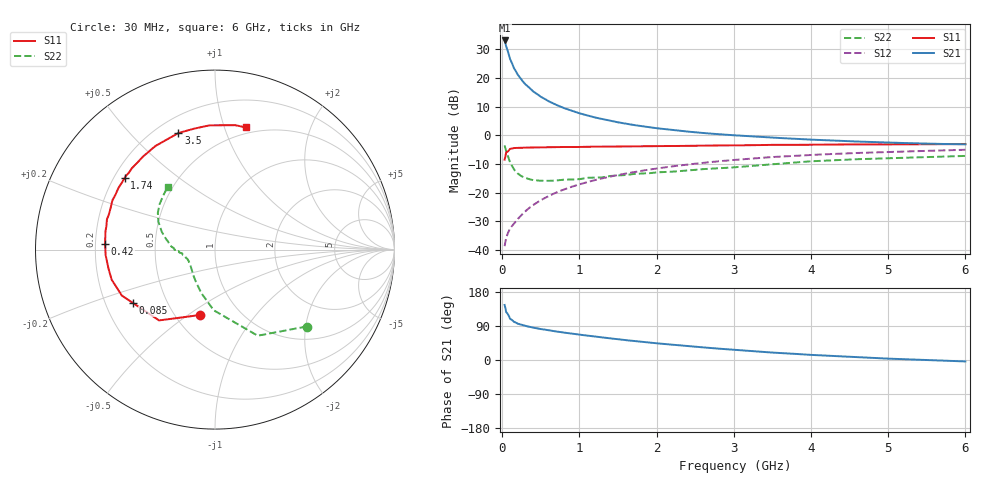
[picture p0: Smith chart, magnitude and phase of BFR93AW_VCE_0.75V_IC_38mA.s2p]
! Infineon Technologies  Discrete & RF Semiconductors
! BFR93AW
! VCE = 0.75 V,  IC =  38 mA
! Common Emitter S-Parameters:  Nov 2015
# GHz  S  MA  R  50
!  f  S11  S21  S12  S22
! GHz  MAG  ANG  MAG  ANG  MAG  ANG  MAG  ANG
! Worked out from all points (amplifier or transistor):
!   206 points, 30 MHz to 6 GHz, reference 50 ohm
!   highest |S21| = 33.1 dB at 30 MHz (marker M1)
!   |S21| within 3 dB of that: start of sweep to 62.44 MHz
!   unconditionally stable (mu >= 1): 236 MHz to end of sweep
!   at 200 MHz: K = 0.96, MSG = 25.2 dB, |S12| = -29.3 dB
!   at 1.56 GHz: K = 1.11, MAG = 6.9 dB, |S12| = -13.6 dB
!   at 6 GHz: K = 1.02, MAG = 0.1 dB, |S12| = -5.1 dB
!   S11 on the Smith chart (normalised r, x): 30 MHz: 0.65, -0.56; 85 MHz: 0.32, -0.27; 420 MHz: 0.24, +0.02; 1.74 GHz: 0.24, +0.33; 3.5 GHz: 0.29, +0.69; 6 GHz: 0.44, +1.19
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0.03  0.3747 -103.3  45.22 145.2  0.0116 63.0  0.6666 -40.0
0.05  0.5027 -128.3  35.77 126.7  0.0162 57.7  0.5356 -63.6
0.085  0.5452 -146.8  25.51 116.2  0.0213 56.0  0.3859 -80.1
0.1  0.5787 -153.7  21.55 108.8  0.0236 55.5  0.3377 -91.3
0.15  0.5996 -163.7  14.95 100.9  0.0285 59.5  0.2546 -107.2
0.2  0.6026 -169.7  11.45 95.9  0.0344 62.7  0.2151 -118.5
0.26  0.6067 -174.9  8.922 92.0  0.042 65.4  0.1897 -128.8
0.3  0.6102 -177.1  7.736 89.7  0.0474 67.0  0.1796 -133.8
0.4  0.6129 177.8  5.829 85.3  0.0606 69.3  0.1648 -144.7
0.42  0.6131 177.0  5.6 84.7  0.0632 69.4  0.1638 -146.2
0.5  0.6151 173.7  4.693 81.6  0.0737 69.8  0.1609 -152.4
0.6  0.6185 170.8  3.931 78.5  0.0867 70.4  0.1604 -157.1
0.7  0.6195 167.4  3.394 75.2  0.1003 70.1  0.1624 -161.0
1.04  0.6265 157.9  2.338 65.9  0.1444 67.8  0.1754 -169.4
1.4  0.6351 149.3  1.789 57.0  0.1904 64.3  0.1948 -174.4
1.74  0.6422 141.7  1.486 49.5  0.2318 60.6  0.2127 -177.5
2.02  0.648 135.6  1.32 43.8  0.2647 57.3  0.2258 -180.0
3.1  0.6684 114.5  0.982 25.5  0.3799 44.1  0.2827 167.0
3.5  0.6808 107.4  0.911 19.6  0.4172 39.2  0.3124 161.6
4.1  0.6851 98.1  0.829 12.5  0.4605 31.8  0.3567 152.4
5.1  0.6948 85.3  0.74 2.9  0.5162 20.9  0.4018 139.4
6  0.7023 75.7  0.695 -3.8  0.5586 12.4  0.4363 127.3
